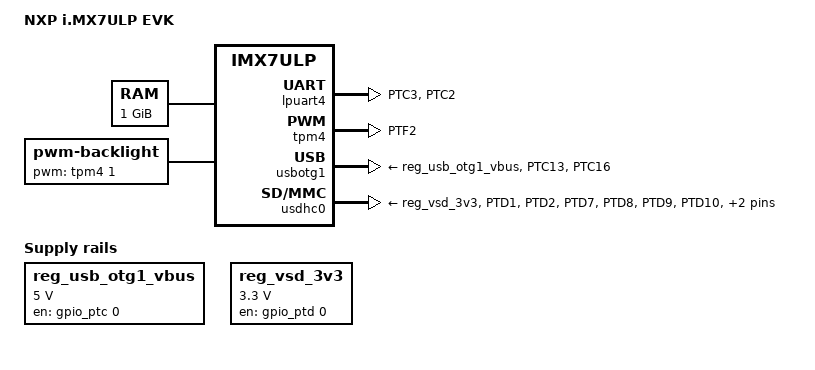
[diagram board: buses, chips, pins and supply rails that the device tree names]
// SPDX-License-Identifier: GPL-2.0+
/*
 * Copyright 2016 Freescale Semiconductor, Inc.
 * Copyright 2017-2018 NXP
 *   Dong Aisheng <aisheng.dong@nxp.com>
 */

/dts-v1/;

#include "imx7ulp.dtsi"

/ {
	model = "NXP i.MX7ULP EVK";
	compatible = "fsl,imx7ulp-evk", "fsl,imx7ulp";

	chosen {
		stdout-path = &lpuart4;
	};

	memory@60000000 {
		device_type = "memory";
		reg = <0x60000000 0x40000000>;
	};

	backlight {
		compatible = "pwm-backlight";
		pwms = <&tpm4 1 50000 0>;
		brightness-levels = <0 20 25 30 35 40 100>;
		default-brightness-level = <6>;
		status = "okay";
	};

	reg_usb_otg1_vbus: regulator-usb-otg1-vbus {
		compatible = "regulator-fixed";
		pinctrl-names = "default";
		pinctrl-0 = <&pinctrl_usbotg1_vbus>;
		regulator-name = "usb_otg1_vbus";
		regulator-min-microvolt = <5000000>;
		regulator-max-microvolt = <5000000>;
		gpio = <&gpio_ptc 0 GPIO_ACTIVE_HIGH>;
		enable-active-high;
	};

	reg_vsd_3v3: regulator-vsd-3v3 {
		compatible = "regulator-fixed";
		regulator-name = "VSD_3V3";
		regulator-min-microvolt = <3300000>;
		regulator-max-microvolt = <3300000>;
		pinctrl-names = "default";
		pinctrl-0 = <&pinctrl_usdhc0_rst>;
		gpio = <&gpio_ptd 0 GPIO_ACTIVE_HIGH>;
		enable-active-high;
	};
};

&lpuart4 {
	pinctrl-names = "default";
	pinctrl-0 = <&pinctrl_lpuart4>;
	status = "okay";
};

&tpm4 {
	pinctrl-names = "default";
	pinctrl-0 = <&pinctrl_pwm0>;
	status = "okay";
};

&usbotg1 {
	vbus-supply = <&reg_usb_otg1_vbus>;
	pinctrl-names = "default";
	pinctrl-0 = <&pinctrl_usbotg1_id>;
	srp-disable;
	hnp-disable;
	adp-disable;
	over-current-active-low;
	status = "okay";
};

&usdhc0 {
	assigned-clocks = <&pcc2 IMX7ULP_CLK_USDHC0>;
	assigned-clock-parents = <&scg1 IMX7ULP_CLK_APLL_PFD1>;
	pinctrl-names = "default";
	pinctrl-0 = <&pinctrl_usdhc0>;
	cd-gpios = <&gpio_ptc 10 GPIO_ACTIVE_LOW>;
	vmmc-supply = <&reg_vsd_3v3>;
	status = "okay";
};

&iomuxc1 {
	pinctrl_lpuart4: lpuart4grp {
		fsl,pins = <
			IMX7ULP_PAD_PTC3__LPUART4_RX	0x3
			IMX7ULP_PAD_PTC2__LPUART4_TX	0x3
		>;
		bias-pull-up;
	};

	pinctrl_pwm0: pwm0grp {
		fsl,pins = <
			IMX7ULP_PAD_PTF2__TPM4_CH1	0x2
		>;
	};

	pinctrl_usbotg1_vbus: otg1vbusgrp {
		fsl,pins = <
			IMX7ULP_PAD_PTC0__PTC0		0x20000
		>;
	};

	pinctrl_usbotg1_id: otg1idgrp {
		fsl,pins = <
			IMX7ULP_PAD_PTC13__USB0_ID	0x10003
			IMX7ULP_PAD_PTC16__USB1_OC2	0x10003
		>;
	};

	pinctrl_usdhc0: usdhc0grp {
		fsl,pins = <
			IMX7ULP_PAD_PTD1__SDHC0_CMD	0x43
			IMX7ULP_PAD_PTD2__SDHC0_CLK	0x40
			IMX7ULP_PAD_PTD7__SDHC0_D3	0x43
			IMX7ULP_PAD_PTD8__SDHC0_D2	0x43
			IMX7ULP_PAD_PTD9__SDHC0_D1	0x43
			IMX7ULP_PAD_PTD10__SDHC0_D0	0x43
			IMX7ULP_PAD_PTC10__PTC10	0x3	/* CD */
		>;
	};

	pinctrl_usdhc0_rst: usdhc0-gpio-rst-grp {
		fsl,pins = <
			IMX7ULP_PAD_PTD0__PTD0		0x3
		>;
	};
};
